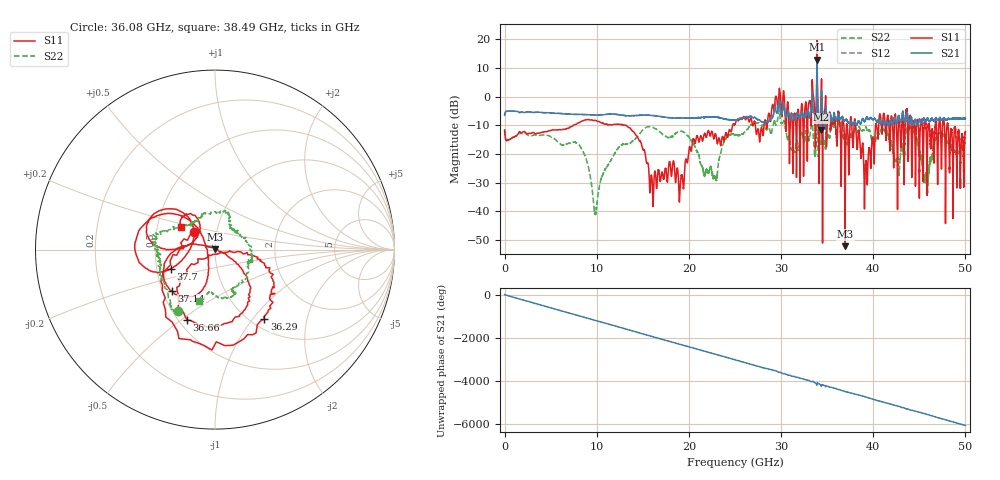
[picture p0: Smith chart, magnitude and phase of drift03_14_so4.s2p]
!Created with skrf (http://scikit-rf.org).
# Hz S RI R 50.0
!freq ReS11 ImS11 ReS21 ImS21 ReS12 ImS12 ReS22 ImS22
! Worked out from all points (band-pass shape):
!   10001 points, 300 kHz to 50 GHz, reference 50 ohm
!   highest |S21| = 12.94 dB at 33.9 GHz (marker M1); lowest = -11.6 dB at 34.32 GHz (marker M2)
!   |S21| within 3 dB of the highest: 33.88996 GHz to 33.90604 GHz (16.07 MHz wide, 0.0474 % of centre)
!   lowest |S11| = -52.2 dB at 36.96 GHz (marker M3), VSWR 1.00, Z = 50.1 + j0.237 ohm
!   |S11| at or under -10 dB: start of sweep to 7.488 GHz; 13.13 GHz to 24.74 GHz (11.61 GHz wide, 61.3 % of centre); 38.09 GHz to 40.26 GHz (2.173 GHz wide, 5.55 % of centre) (the widest 3 of 51)
!   |S22| runs from -41.3 to 5.3 dB; largest |S21 - S12| = 0.32
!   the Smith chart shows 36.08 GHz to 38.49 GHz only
!   S11 on the Smith chart (normalised r, x): 36.08 GHz: 0.78, +0.15; 36.29 GHz: 1.15, -1.14; 36.66 GHz: 0.55, -0.52; 37.14 GHz: 0.56, -0.29; 37.7 GHz: 0.59, -0.14; 38.49 GHz: 0.66, +0.17
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300000  -0.235 -0.1155  0.4652 0.0765  0.4661 0.077  -0.234 -0.123
1.440291e9  0.2101 0.0647  -0.5479 -0.0293  -0.5478 -0.029  0.2112 -0.00435
2.915283e9  -0.212 -0.088  0.5341 0.0515  0.5345 0.0512  -0.2024 0.0401
8.33525e9  0.2886 -0.2333  0.1459 0.4657  0.1466 0.466  -0.0735 -0.1005
9.855241e9  -0.3611 0.1345  -0.1575 -0.4488  -0.1576 -0.4491  0.00881 0.00222
1.66702e10  0.0273 0.0449  -0.3782 0.2536  -0.3786 0.254  -0.1264 -0.2186
2.500015e10  -0.3251 -0.0144  -0.2551 -0.296  -0.2541 -0.2979  -0.2121 0.027
2.895513e10  -0.3227 0.4326  -0.2879 0.3262  -0.2977 0.2913  0.0646 0.2199
3.006512e10  0.3993 0.2638  0.4487 -0.197  0.4513 -0.1838  0.172 -0.2991
3.171011e10  -0.0885 0.187  -0.3595 0.3566  -0.3577 0.3574  0.0656 0.157
3.33351e10  0.5809 -0.8223  0.2336 -0.8298  0.2356 -0.8124  -0.1939 -0.4111
3.38951e10  -2.321 -9.247  -4.373 0.7428  -4.103 0.9103  0.4728 1.788
3.432009e10  -0.7808 0.00298  -0.1784 0.1949  -0.2392 0.1756  0.1418 -0.0695
3.608008e10  -0.1177 0.0964  0.2647 -0.318  0.274 -0.3107  -0.2076 -0.3423
3.628508e10  0.2748 -0.3859  0.1498 -0.4064  0.1535 -0.3968  -0.2969 -0.1391
3.666008e10  -0.1561 -0.3899  -0.2356 -0.367  -0.2399 -0.3736  -0.2525 0.1108
3.696008e10  0.000681 0.00237  -0.37 -0.113  -0.3684 -0.1147  -0.00538 0.2097
3.714008e10  -0.241 -0.2303  -0.3895 -0.0104  -0.3837 -0.0103  0.0809 0.1379
3.769507e10  -0.2465 -0.1068  -0.1643 0.3107  -0.1631 0.296  0.1886 -0.1077
3.849007e10  -0.1892 0.1247  0.2957 0.2024  0.3083 0.2106  -0.0903 -0.2852
4.167005e10  -0.1907 0.3026  0.3116 0.0064  0.3136 0.0116  -0.1938 -0.0071
5e10  -0.1306 -0.2071  0.1495 0.3861  0.1457 0.3861  -0.0557 -0.144
